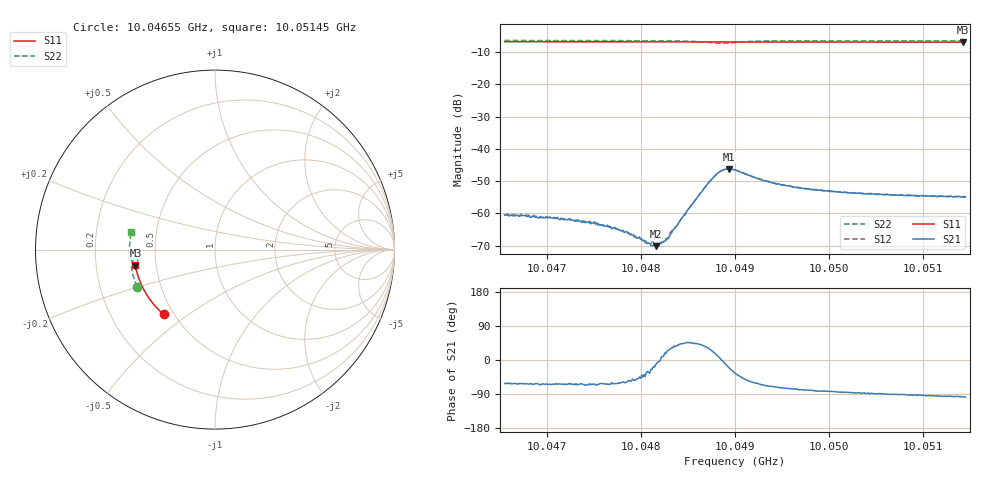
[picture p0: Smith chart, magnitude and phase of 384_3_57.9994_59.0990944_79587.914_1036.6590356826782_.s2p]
#  HZ  S  RI  R  50.00
! Rohde & Schwarz Vector Network Analyzer
! Rohde-Schwarz,ZNB20-2Port,1311601062101988,3.16
! Created: UTC 3/21/2024, 1:07:28 AM
! freq[Hz]  re:S11  im:S11  re:S21  im:S21  re:S12  im:S12  re:S22  im:S22
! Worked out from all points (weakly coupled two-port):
!   401 points, 10.04655 GHz to 10.05145 GHz, reference 50 ohm
!   highest |S21| = -46.25 dB at 10.04894 GHz (marker M1); lowest = -70.2 dB at 10.04815 GHz (marker M2)
!   lowest |S11| = -6.9 dB at 10.05143 GHz (marker M3), VSWR 2.65, Z = 19 - j4.26 ohm
!   |S11| at or under -10 dB: nowhere
!   |S22| runs from -7.3 to -6.4 dB; largest |S21 - S12| = 0.00033
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1.0046548e10  -0.2857 -0.3612  0.000443 -0.000836  0.000528 -0.000808  -0.4341 -0.2065
1.0047124e10  -0.3139 -0.3354  0.000374 -0.000727  0.000416 -0.000764  -0.4484 -0.1703
1.0047369e10  -0.325 -0.3239  0.000328 -0.000646  0.000376 -0.000673  -0.4536 -0.1542
1.0047504e10  -0.3311 -0.3173  0.000325 -0.000664  0.000329 -0.000627  -0.4563 -0.1454
1.0047725e10  -0.3407 -0.3062  0.000273 -0.00051  0.000316 -0.000517  -0.4601 -0.13
1.004786e10  -0.3463 -0.2995  0.000286 -0.000412  0.000299 -0.00039  -0.4621 -0.1206
1.0048081e10  -0.3552 -0.2879  0.000293 -0.000187  0.000297 -0.000148  -0.4644 -0.1042
1.004813e10  -0.3573 -0.2855  0.000305 -9.84e-05  0.000349 -9.61e-05  -0.4649 -0.1004
1.0048154e10  -0.3582 -0.2842  0.000303 -6.75e-05  0.00032 -3.94e-05  -0.4652 -0.0986
1.0048191e10  -0.3597 -0.2821  0.00031 -2.22e-05  0.000316 -6.92e-06  -0.4655 -0.0956
1.0048264e10  -0.3625 -0.2782  0.000365 0.000112  0.000379 0.000145  -0.4654 -0.0897
1.0048289e10  -0.3634 -0.2771  0.000363 0.000172  0.000368 0.000191  -0.4656 -0.0877
1.004851e10  -0.3717 -0.2649  0.000827 0.000845  0.000782 0.000903  -0.4627 -0.0675
1.0048755e10  -0.3802 -0.2514  0.0031 0.00139  0.00303 0.0016  -0.4415 -0.0495
1.0048853e10  -0.3834 -0.2459  0.00457 0.000106  0.00455 0.000389  -0.4304 -0.0577
1.0048939e10  -0.3863 -0.2413  0.00454 -0.00176  0.00466 -0.00146  -0.4334 -0.0702
1.0049e10  -0.3884 -0.2379  0.00388 -0.0027  0.00406 -0.00247  -0.4418 -0.0739
1.0049417e10  -0.4017 -0.2138  0.000959 -0.00277  0.00113 -0.00273  -0.4714 -0.0437
1.0049822e10  -0.4129 -0.1897  0.000398 -0.00229  0.000528 -0.00229  -0.476 -0.0121
1.0050643e10  -0.4312 -0.1391  -2.3e-05 -0.00194  0.000131 -0.00195  -0.4744 0.0456
1.0051428e10  -0.443 -0.089  -0.000216 -0.00179  -0.000118 -0.00178  -0.4661 0.0976
1.0051453e10  -0.4434 -0.0876  -0.000255 -0.00178  -0.00013 -0.00181  -0.4659 0.0991
